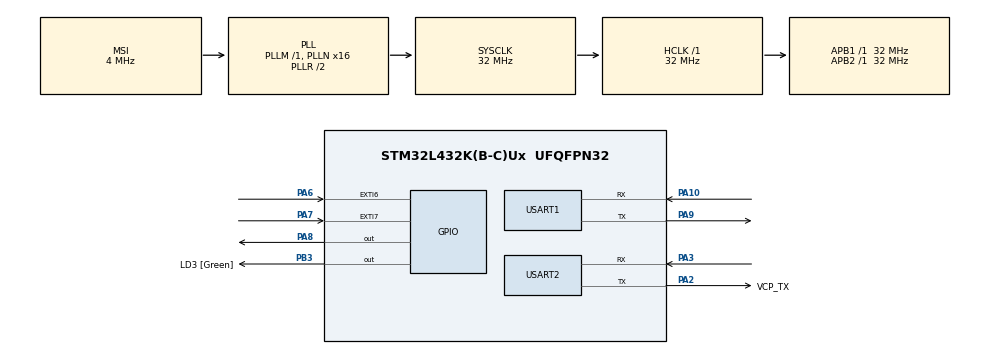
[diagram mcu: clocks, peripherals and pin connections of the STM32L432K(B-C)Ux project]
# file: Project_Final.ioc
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Mcu.Family=STM32L4
Mcu.Name=STM32L432K(B-C)Ux
Mcu.Package=UFQFPN32
NVIC.EXTI9_5_IRQn=true\:0\:0\:false\:false\:true\:true\:true\:true
NVIC.PriorityGroup=NVIC_PRIORITYGROUP_4
NVIC.USART1_IRQn=true\:0\:0\:false\:false\:true\:true\:true\:true
NVIC.USART2_IRQn=true\:0\:0\:false\:false\:true\:true\:true\:true
PA0.GPIO_Label=MCO [High speed clock in]
PA0.Mode=HSE-External-Clock-Source-for-LittleOrca
PA0.Signal=RCC_CK_IN
PA10.Mode=Asynchronous
PA10.Signal=USART1_RX
PA13\ (JTMS-SWDIO).GPIO_Label=SWDIO
PA13\ (JTMS-SWDIO).Mode=Serial_Wire
PA13\ (JTMS-SWDIO).Signal=SYS_JTMS-SWDIO
PA14\ (JTCK-SWCLK).GPIO_Label=SWCLK
PA14\ (JTCK-SWCLK).Mode=Serial_Wire
PA14\ (JTCK-SWCLK).Signal=SYS_JTCK-SWCLK
PA2.GPIO_Label=VCP_TX
PA2.Mode=Asynchronous
PA2.Signal=USART2_TX
PA3.Mode=Asynchronous
PA3.Signal=USART2_RX
PA6.Signal=GPXTI6
PA7.Signal=GPXTI7
PA8.Signal=GPIO_Output
PA9.Mode=Asynchronous
PA9.Signal=USART1_TX
PB3\ (JTDO-TRACESWO).GPIO_Label=LD3 [Green]
PB3\ (JTDO-TRACESWO).Signal=GPIO_Output
PC14-OSC32_IN\ (PC14).Mode=LSE-External-Oscillator
PC14-OSC32_IN\ (PC14).Signal=RCC_OSC32_IN
PC15-OSC32_OUT\ (PC15).Mode=LSE-External-Oscillator
PC15-OSC32_OUT\ (PC15).Signal=RCC_OSC32_OUT
ProjectManager.HeapSize=0x200
ProjectManager.StackSize=0x400
ProjectManager.TargetToolchain=STM32CubeIDE
RCC.AHBFreq_Value=32000000
RCC.APB1Freq_Value=32000000
RCC.APB1TimFreq_Value=32000000
RCC.APB2Freq_Value=32000000
RCC.APB2TimFreq_Value=32000000
RCC.CortexFreq_Value=32000000
RCC.HCLKFreq_Value=32000000
RCC.HSE_VALUE=8000000
RCC.HSI16_VALUE=16000000
RCC.HSI48_VALUE=48000000
RCC.HSI_VALUE=16000000
RCC.MSI_VALUE=4000000
RCC.PLLMUL=RCC_PLLMUL_4
RCC.PLLN=16
RCC.SYSCLKFreq_VALUE=32000000
RCC.SYSCLKSource=RCC_SYSCLKSOURCE_PLLCLK
RCC.VCOOutputFreq_Value=64000000
USART1.VirtualMode-Asynchronous=VM_ASYNC
USART2.VirtualMode-Asynchronous=VM_ASYNC
board=NUCLEO-L432KC

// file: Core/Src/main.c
/* USER CODE BEGIN Header */
/**
  ******************************************************************************
  * @file           : main.c
  * @brief          : Main program body
  ******************************************************************************
  * @attention
  *
  * Copyright (c) 2022 STMicroelectronics.
  * All rights reserved.
  *
  * This software is licensed under terms that can be found in the LICENSE file
  * in the root directory of this software component.
  * If no LICENSE file comes with this software, it is provided AS-IS.
  *
  ******************************************************************************
  */
/* USER CODE END Header */
#include "main.h"

/* USER CODE BEGIN Includes */
#include "string.h"
#include "stdio.h"

/* USER CODE END Includes */

 UART_HandleTypeDef huart1;
UART_HandleTypeDef huart2;

void SystemClock_Config(void);
static void MX_GPIO_Init(void);
static void MX_USART2_UART_Init(void);
static void MX_USART1_UART_Init(void);
/* USER CODE BEGIN PFP */
void HAL_GPIO_EXTI_Callback(uint16_t);
/* USER CODE END PFP */

/* USER CODE BEGIN 0 */
uint8_t counter_in = 0;
uint8_t counter_out = 0;
uint8_t capacity = 5;
uint8_t people2capacity;

/* USER CODE END 0 */

int main(void)
{
  /* USER CODE BEGIN 1 */
	char msg[100];
  /* USER CODE END 1 */

  /* MCU Configuration--------------------------------------------------------*/

  /* Reset of all peripherals, Initializes the Flash interface and the Systick. */
  HAL_Init();

  /* Configure the system clock */
  SystemClock_Config();

  /* Initialize all configured peripherals */
  MX_GPIO_Init();
  MX_USART2_UART_Init();
  MX_USART1_UART_Init();
  /* USER CODE BEGIN 2 */
  //HAL_UART_Receive_IT(&huart2, buf1, 1);

  /* USER CODE END 2 */

  /* Infinite loop */
  while (1)
  {

    /* USER CODE BEGIN 3 */
	  //HAL_UART_Transmit(&huart1, &counter, sizeof(counter), 500);

	  people2capacity = (counter_in- counter_out)*100 /capacity;
	  sprintf(msg, "People Entered: %hu\r\nPeople Exited: %hu\r\nPeople Inside: %hu\r\nPeople To Capacity: %hu%%\r\n\r\n", counter_in, counter_out
			  , counter_in- counter_out, people2capacity);
	  HAL_UART_Transmit(&huart2, (uint8_t*)msg, strlen(msg), HAL_MAX_DELAY);

	  if(people2capacity >= 100)
	      HAL_GPIO_WritePin(GPIOA, GPIO_PIN_8, GPIO_PIN_SET);
	  else
	      HAL_GPIO_WritePin(GPIOA, GPIO_PIN_8, GPIO_PIN_RESET);

	  HAL_GPIO_TogglePin(GPIOB,GPIO_PIN_3);
	  HAL_Delay(3000);

  }
  /* USER CODE END 3 */
}

void SystemClock_Config(void)
{
  RCC_OscInitTypeDef RCC_OscInitStruct = {0};
  RCC_ClkInitTypeDef RCC_ClkInitStruct = {0};

  /** Configure the main internal regulator output voltage
  */
  if (HAL_PWREx_ControlVoltageScaling(PWR_REGULATOR_VOLTAGE_SCALE1) != HAL_OK)
  {
    Error_Handler();
  }

  /** Configure LSE Drive Capability
  */
  HAL_PWR_EnableBkUpAccess();
  __HAL_RCC_LSEDRIVE_CONFIG(RCC_LSEDRIVE_LOW);

  /** Initializes the RCC Oscillators according to the specified parameters
  * in the RCC_OscInitTypeDef structure.
  */
  RCC_OscInitStruct.OscillatorType = RCC_OSCILLATORTYPE_LSE|RCC_OSCILLATORTYPE_MSI;
  RCC_OscInitStruct.LSEState = RCC_LSE_ON;
  RCC_OscInitStruct.MSIState = RCC_MSI_ON;
  RCC_OscInitStruct.MSICalibrationValue = 0;
  RCC_OscInitStruct.MSIClockRange = RCC_MSIRANGE_6;
  RCC_OscInitStruct.PLL.PLLState = RCC_PLL_ON;
  RCC_OscInitStruct.PLL.PLLSource = RCC_PLLSOURCE_MSI;
  RCC_OscInitStruct.PLL.PLLM = 1;
  RCC_OscInitStruct.PLL.PLLN = 16;
  RCC_OscInitStruct.PLL.PLLP = RCC_PLLP_DIV7;
  RCC_OscInitStruct.PLL.PLLQ = RCC_PLLQ_DIV2;
  RCC_OscInitStruct.PLL.PLLR = RCC_PLLR_DIV2;
  if (HAL_RCC_OscConfig(&RCC_OscInitStruct) != HAL_OK)
  {
    Error_Handler();
  }

  /** Initializes the CPU, AHB and APB buses clocks
  */
  RCC_ClkInitStruct.ClockType = RCC_CLOCKTYPE_HCLK|RCC_CLOCKTYPE_SYSCLK
                              |RCC_CLOCKTYPE_PCLK1|RCC_CLOCKTYPE_PCLK2;
  RCC_ClkInitStruct.SYSCLKSource = RCC_SYSCLKSOURCE_PLLCLK;
  RCC_ClkInitStruct.AHBCLKDivider = RCC_SYSCLK_DIV1;
  RCC_ClkInitStruct.APB1CLKDivider = RCC_HCLK_DIV1;
  RCC_ClkInitStruct.APB2CLKDivider = RCC_HCLK_DIV1;

  if (HAL_RCC_ClockConfig(&RCC_ClkInitStruct, FLASH_LATENCY_1) != HAL_OK)
  {
    Error_Handler();
  }

  /** Enable MSI Auto calibration
  */
  HAL_RCCEx_EnableMSIPLLMode();
}

static void MX_USART1_UART_Init(void)
{

  huart1.Instance = USART1;
  huart1.Init.BaudRate = 115200;
  huart1.Init.WordLength = UART_WORDLENGTH_8B;
  huart1.Init.StopBits = UART_STOPBITS_1;
  huart1.Init.Parity = UART_PARITY_NONE;
  huart1.Init.Mode = UART_MODE_TX_RX;
  huart1.Init.HwFlowCtl = UART_HWCONTROL_NONE;
  huart1.Init.OverSampling = UART_OVERSAMPLING_16;
  huart1.Init.OneBitSampling = UART_ONE_BIT_SAMPLE_DISABLE;
  huart1.AdvancedInit.AdvFeatureInit = UART_ADVFEATURE_NO_INIT;
  if (HAL_UART_Init(&huart1) != HAL_OK)
  {
    Error_Handler();
  }

}

static void MX_USART2_UART_Init(void)
{

  huart2.Instance = USART2;
  huart2.Init.BaudRate = 115200;
  huart2.Init.WordLength = UART_WORDLENGTH_8B;
  huart2.Init.StopBits = UART_STOPBITS_1;
  huart2.Init.Parity = UART_PARITY_NONE;
  huart2.Init.Mode = UART_MODE_TX_RX;
  huart2.Init.HwFlowCtl = UART_HWCONTROL_NONE;
  huart2.Init.OverSampling = UART_OVERSAMPLING_16;
  huart2.Init.OneBitSampling = UART_ONE_BIT_SAMPLE_DISABLE;
  huart2.AdvancedInit.AdvFeatureInit = UART_ADVFEATURE_NO_INIT;
  if (HAL_UART_Init(&huart2) != HAL_OK)
  {
    Error_Handler();
  }

}

static void MX_GPIO_Init(void)
{
  GPIO_InitTypeDef GPIO_InitStruct = {0};

  /* GPIO Ports Clock Enable */
  __HAL_RCC_GPIOC_CLK_ENABLE();
  __HAL_RCC_GPIOA_CLK_ENABLE();
  __HAL_RCC_GPIOB_CLK_ENABLE();

  /*Configure GPIO pin Output Level */
  HAL_GPIO_WritePin(GPIOA, GPIO_PIN_8, GPIO_PIN_RESET);

  /*Configure GPIO pin Output Level */
  HAL_GPIO_WritePin(LD3_GPIO_Port, LD3_Pin, GPIO_PIN_RESET);

  /*Configure GPIO pins : PA6 PA7 */
  GPIO_InitStruct.Pin = GPIO_PIN_6|GPIO_PIN_7;
  GPIO_InitStruct.Mode = GPIO_MODE_IT_RISING;
  GPIO_InitStruct.Pull = GPIO_NOPULL;
  HAL_GPIO_Init(GPIOA, &GPIO_InitStruct);

  /*Configure GPIO pin : PA8 */
  GPIO_InitStruct.Pin = GPIO_PIN_8;
  GPIO_InitStruct.Mode = GPIO_MODE_OUTPUT_PP;
  GPIO_InitStruct.Pull = GPIO_NOPULL;
  GPIO_InitStruct.Speed = GPIO_SPEED_FREQ_LOW;
  HAL_GPIO_Init(GPIOA, &GPIO_InitStruct);

  /*Configure GPIO pin : LD3_Pin */
  GPIO_InitStruct.Pin = LD3_Pin;
  GPIO_InitStruct.Mode = GPIO_MODE_OUTPUT_PP;
  GPIO_InitStruct.Pull = GPIO_NOPULL;
  GPIO_InitStruct.Speed = GPIO_SPEED_FREQ_LOW;
  HAL_GPIO_Init(LD3_GPIO_Port, &GPIO_InitStruct);

  /* EXTI interrupt init*/
  HAL_NVIC_SetPriority(EXTI9_5_IRQn, 0, 0);
  HAL_NVIC_EnableIRQ(EXTI9_5_IRQn);

}

/* USER CODE BEGIN 4 */

void HAL_GPIO_EXTI_Callback(uint16_t GPIO_Pin){

	if(GPIO_Pin == GPIO_PIN_6)
		counter_in = counter_in+1;

	if(GPIO_Pin == GPIO_PIN_7)
		if(counter_in!=counter_out)
			counter_out = counter_out+1;

}

//void HAL_UART_RxCpltCallback(UART_HandleTypeDef *huart)
//{
//
//
//HAL_UART_Receive_IT(&huart2, buf2, 1);
//
//
//}
/* USER CODE END 4 */

void Error_Handler(void)
{
  __disable_irq();
  while (1)
  {
  }
}
